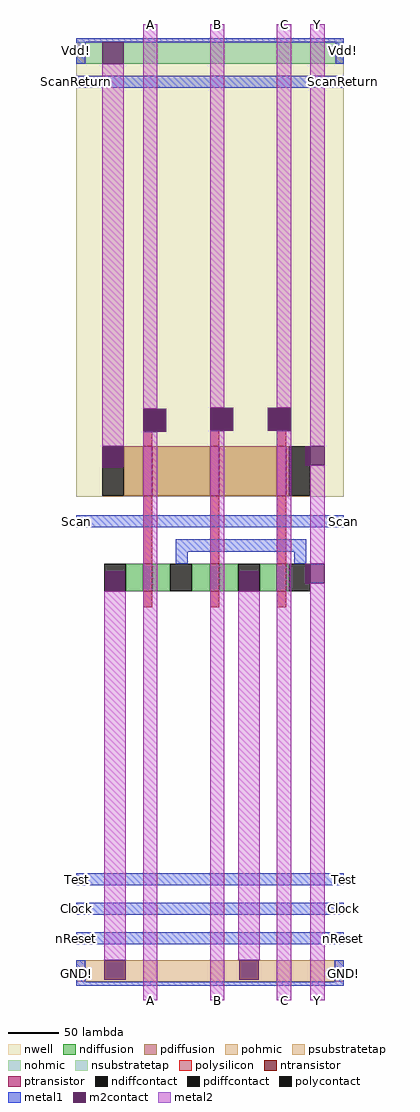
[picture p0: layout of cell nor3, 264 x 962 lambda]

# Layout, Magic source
magic
tech tsmc180
<< nwell >>
rect 0 496 264 948
<< polysilicon >>
rect 66 546 75 560
rect 132 546 141 561
rect 198 546 207 561
rect 66 430 75 497
rect 132 430 141 497
rect 198 430 207 497
rect 66 387 75 403
rect 132 387 141 403
rect 198 387 207 403
<< ndiffusion >>
rect 49 403 66 430
rect 75 403 93 430
rect 114 403 132 430
rect 141 403 160 430
rect 181 403 198 430
rect 207 403 210 430
<< pdiffusion >>
rect 47 497 66 546
rect 75 497 132 546
rect 141 497 198 546
rect 207 497 210 546
<< pohmic >>
rect 0 18 9 39
rect 255 18 264 39
<< nohmic >>
rect 0 923 9 944
rect 256 923 264 944
<< ntransistor >>
rect 66 403 75 430
rect 132 403 141 430
rect 198 403 207 430
<< ptransistor >>
rect 66 497 75 546
rect 132 497 141 546
rect 198 497 207 546
<< polycontact >>
rect 66 560 89 583
rect 132 561 155 584
rect 189 561 212 584
<< ndiffcontact >>
rect 28 403 49 430
rect 93 403 114 430
rect 160 403 181 430
rect 210 403 231 430
<< pdiffcontact >>
rect 26 497 47 546
rect 210 497 231 546
<< psubstratetap >>
rect 9 18 255 39
<< nsubstratetap >>
rect 9 923 256 944
<< metal1 >>
rect 0 944 264 948
rect 0 923 9 944
rect 256 923 264 944
rect 0 899 264 911
rect 0 466 264 478
rect 98 442 227 454
rect 98 430 110 442
rect 215 430 227 442
rect 0 113 264 125
rect 0 84 264 96
rect 0 55 264 67
rect 0 18 9 39
rect 255 18 264 39
rect 0 14 264 18
<< m2contact >>
rect 26 923 47 944
rect 66 560 89 583
rect 132 561 155 584
rect 189 561 212 584
rect 26 525 47 546
rect 226 527 231 546
rect 231 527 245 546
rect 29 403 48 422
rect 161 403 180 422
rect 226 411 231 430
rect 231 411 245 430
rect 28 20 49 39
rect 161 20 180 39
<< metal2 >>
rect 26 546 47 923
rect 66 583 80 962
rect 132 584 146 962
rect 198 584 212 962
rect 28 39 49 403
rect 66 0 80 560
rect 132 0 146 561
rect 160 39 181 403
rect 198 0 212 561
rect 231 546 245 962
rect 231 430 245 527
rect 231 0 245 411
<< labels >>
rlabel metal1 0 923 0 948 3 Vdd!
rlabel metal1 264 923 264 948 7 Vdd!
rlabel metal1 264 14 264 39 7 GND!
rlabel metal1 0 14 0 39 3 GND!
rlabel metal1 0 899 0 911 3 ScanReturn
rlabel metal1 0 466 0 478 3 Scan
rlabel metal1 0 113 0 125 3 Test
rlabel metal1 0 84 0 96 3 Clock
rlabel metal1 0 55 0 67 3 nReset
rlabel metal1 264 55 264 67 7 nReset
rlabel metal1 264 84 264 96 7 Clock
rlabel metal1 264 113 264 125 7 Test
rlabel metal1 264 466 264 478 7 Scan
rlabel metal1 264 899 264 911 7 ScanReturn
rlabel metal2 132 962 146 962 5 B
rlabel metal2 198 962 212 962 5 C
rlabel metal2 231 962 245 962 5 Y
rlabel metal2 66 962 80 962 5 A
rlabel metal2 132 0 146 0 1 B
rlabel metal2 198 0 212 0 1 C
rlabel metal2 231 0 245 0 1 Y
rlabel metal2 66 0 80 0 1 A
<< end >>
